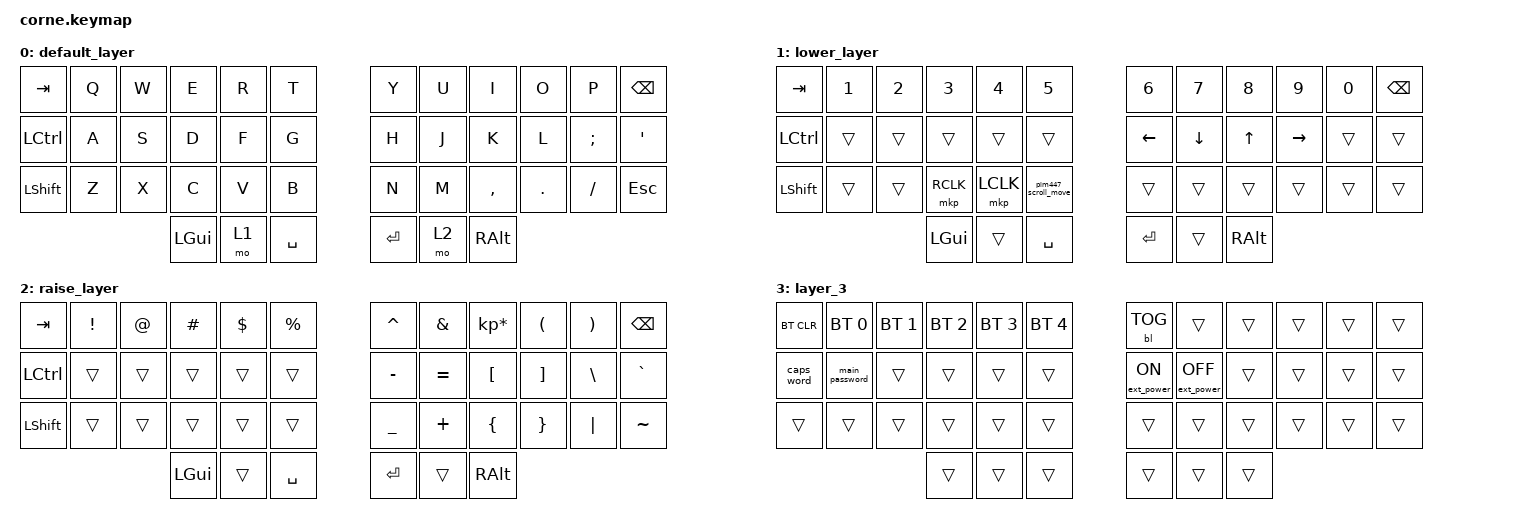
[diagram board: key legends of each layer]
// vim: set expandtab:ts=4:sw=4
/*
 * Copyright (c) 2020 The ZMK Contributors
 *
 * SPDX-License-Identifier: MIT
 */

#include <behaviors.dtsi>
#include <dt-bindings/zmk/backlight.h>
#include <dt-bindings/zmk/bt.h>
#include <dt-bindings/zmk/ext_power.h>
#include <dt-bindings/zmk/keys.h>
#include <dt-bindings/zmk/mouse.h>

// TODO: try to move these to a zmk-config corne.dtsi so that I can use these in layer definition for PIM447

#define DEFAULT 0
#define GAME 1
#define NAV 2
#define SYMB 3

/ {
    keymap {
        compatible = "zmk,keymap";

        default_layer {
            bindings = <
&kp TAB     &kp Q  &kp W  &kp E     &kp R  &kp T        &kp Y    &kp U  &kp I      &kp O    &kp P     &kp BSPC
&kp LCTRL   &kp A  &kp S  &kp D     &kp F  &kp G        &kp H    &kp J  &kp K      &kp L    &kp SEMI  &kp SQT
&kp LSHIFT  &kp Z  &kp X  &kp C     &kp V  &kp B        &kp N    &kp M  &kp COMMA  &kp DOT  &kp FSLH  &kp ESC
                          &kp LGUI  &mo 1  &kp SPACE    &kp RET  &mo 2  &kp RALT
            >;
        };

        lower_layer {
            bindings = <
&kp TAB    &kp N1  &kp N2  &kp N3     &kp N4     &kp N5                 &kp N6          &kp N7          &kp N8        &kp N9     &kp N0  &kp BSPC
&kp LCTRL  &trans  &trans  &trans     &trans     &trans                 &kp LEFT_ARROW  &kp DOWN_ARROW  &kp UP_ARROW  &kp RIGHT  &trans  &trans
&kp LSHFT  &trans  &trans  &mkp RCLK  &mkp LCLK  &pim447_scroll_move    &trans          &trans          &trans        &trans     &trans  &trans
                           &kp LGUI   &trans     &kp SPACE              &kp RET         &trans          &kp RALT
            >;
        };

        raise_layer {
            bindings = <
&kp TAB     &kp EXCL  &kp AT  &kp HASH  &kp DLLR  &kp PRCNT    &kp CARET  &kp AMPS   &kp KP_MULTIPLY  &kp LPAR  &kp RPAR  &kp BSPC
&kp LCTRL   &trans    &trans  &trans    &trans    &trans       &kp MINUS  &kp EQUAL  &kp LBKT         &kp RBKT  &kp BSLH  &kp GRAVE
&kp LSHIFT  &trans    &trans  &trans    &trans    &trans       &kp UNDER  &kp PLUS   &kp LBRC         &kp RBRC  &kp PIPE  &kp TILDE
                              &kp LGUI  &trans    &kp SPACE    &kp RET    &trans     &kp RALT
            >;
        };

        layer_3 {
            bindings = <
&bt BT_CLR  &bt BT_SEL 0    &bt BT_SEL 1  &bt BT_SEL 2  &bt BT_SEL 3  &bt BT_SEL 4    &bl BL_TOG        &trans             &trans  &trans  &trans  &trans
&caps_word  &main_password  &trans        &trans        &trans        &trans          &ext_power EP_ON  &ext_power EP_OFF  &trans  &trans  &trans  &trans
&trans      &trans          &trans        &trans        &trans        &trans          &trans            &trans             &trans  &trans  &trans  &trans
                                          &trans        &trans        &trans          &trans            &trans             &trans
            >;
        };
    };

    conditional_layers {
        compatible = "zmk,conditional-layers";

        controling {
            if-layers = <2 1>;
            then-layer = <3>;
        };
    };
};
